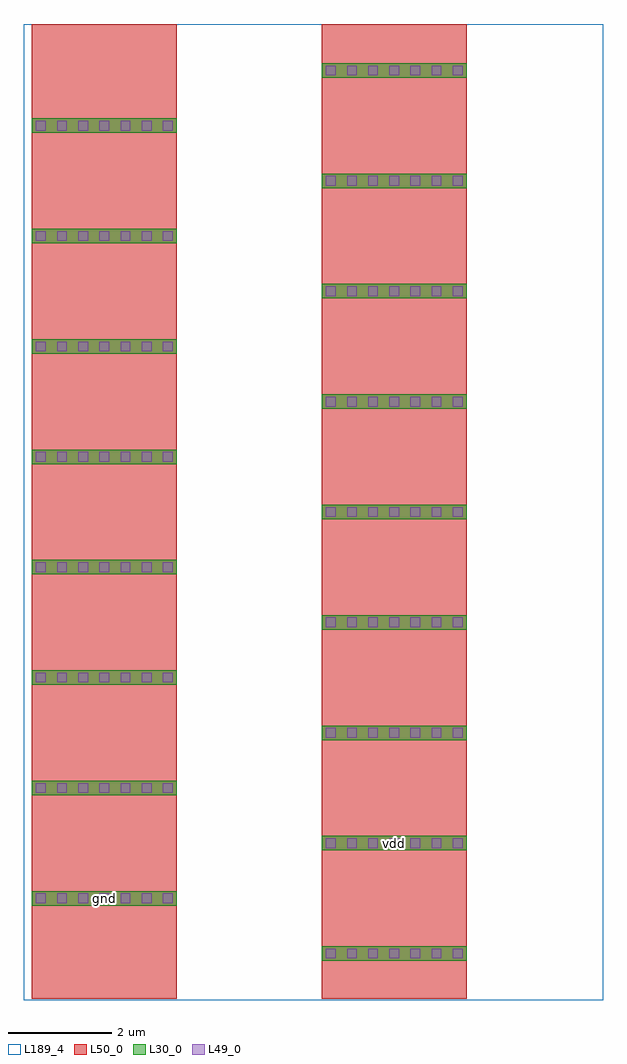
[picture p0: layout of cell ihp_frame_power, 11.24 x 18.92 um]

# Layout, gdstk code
import gdstk
lib = gdstk.Library(unit=1e-6, precision=1e-09)
def R(c, l, rs):  # rectangles x0, y0, x1, y1
    for r in rs: c.add(gdstk.rectangle(r[:2], r[2:], *l))
def A(c, l, x, y, w, h, nx, ny, dx, dy):  # array of equal rectangles
    R(c, l, [(x+i*dx, y+j*dy, x+i*dx+w, y+j*dy+h) for i in range(nx) for j in range(ny)])
L30_0 = (30, 0)
L49_0 = (49, 0)
L50_0 = (50, 0)
L189_4 = (189, 4)

ihp_frame_power = lib.new_cell('ihp_frame_power')
A(ihp_frame_power, L30_0, 5.78, 0.76, 2.81, 0.28, 1, 9, 0, 2.14)
A(ihp_frame_power, L30_0, 0.16, 1.83, 2.81, 0.28, 1, 8, 0, 2.14)
A(ihp_frame_power, L49_0, 5.86, 0.805, 0.19, 0.19, 7, 9, 0.41, 2.14)
A(ihp_frame_power, L49_0, 0.24, 1.875, 0.19, 0.19, 7, 8, 0.41, 2.14)
R(ihp_frame_power, L50_0, [(0.16,0.025,2.97,18.92), (5.78,0.025,8.59,18.92)])
R(ihp_frame_power, L189_4, [(0,0,11.24,18.92)])
ihp_frame_power.add(gdstk.Label('gnd', (1.565,1.97), layer=50, texttype=25))
ihp_frame_power.add(gdstk.Label('vdd', (7.185,3.04), layer=50, texttype=25))

lib.write_gds('ihp_frame_power.gds')
